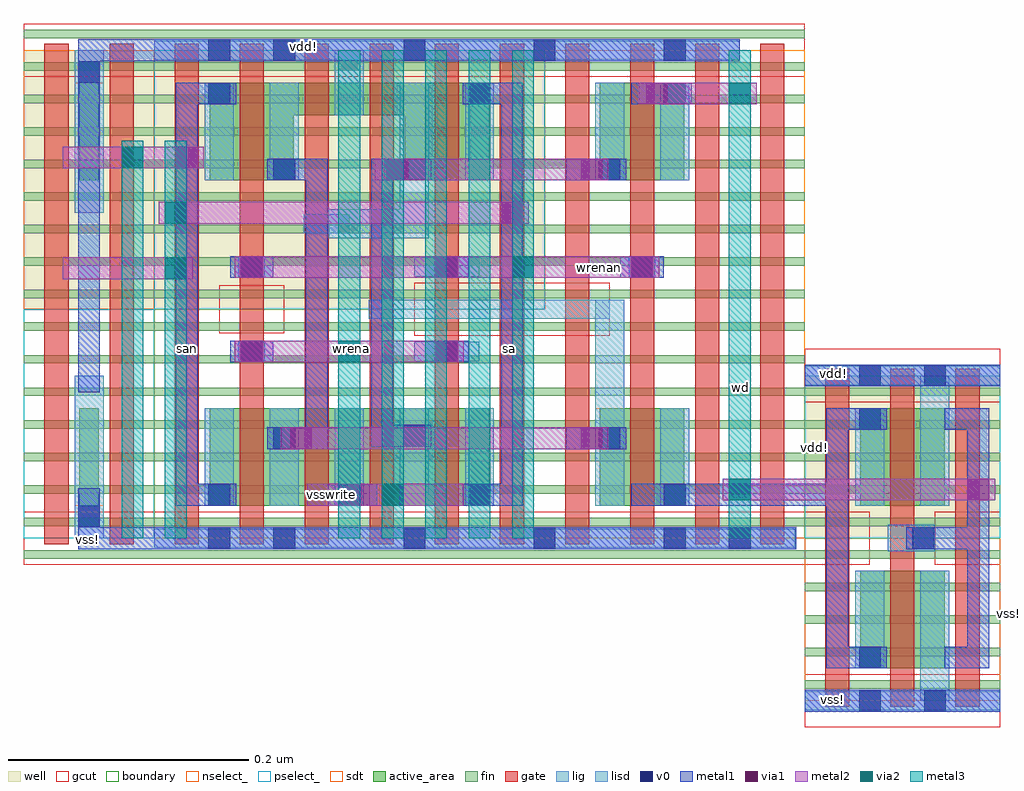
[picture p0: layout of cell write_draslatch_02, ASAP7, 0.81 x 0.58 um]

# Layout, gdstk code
from math import pi, radians
import gdstk
lib = gdstk.Library(unit=1e-6, precision=2.5e-10)
def R(c, l, rs):  # rectangles x0, y0, x1, y1
    for r in rs: c.add(gdstk.rectangle(r[:2], r[2:], *l))
def A(c, l, x, y, w, h, nx, ny, dx, dy):  # array of equal rectangles
    R(c, l, [(x+i*dx, y+j*dy, x+i*dx+w, y+j*dy+h) for i in range(nx) for j in range(ny)])
def P(c, l, *ps):  # polygons
    for p in ps: c.add(gdstk.Polygon(p, *l))
well = (1, 0)
fin = (2, 0)
gate = (7, 0)
gcut = (10, 0)
active_area = (11, 0)
nselect_ = (12, 0)
pselect_ = (13, 0)
lig = (16, 0)
lisd = (17, 0)
v0 = (18, 0)
metal1 = (19, 0)
metal2 = (20, 0)
via1 = (21, 0)
via2 = (25, 0)
metal3 = (30, 0)
sdt = (88, 0)
boundary = (100, 0)

invx1_asap7_75t_r_asap7s = lib.new_cell('INVx1_ASAP7_75t_R_asap7sc7p5t_18_R_old')
R(invx1_asap7_75t_r_asap7s, well, [(0,0.135,0.162,0.27)])
A(invx1_asap7_75t_r_asap7s, fin, 0, 0.01, 0.162, 0.007, 1, 10, 0, 0.027)
A(invx1_asap7_75t_r_asap7s, gate, 0.017, -0.005, 0.02, 0.2805, 3, 1, 0.054, 0)
R(invx1_asap7_75t_r_asap7s, gcut, [(0,-0.022,0.162,0.022), (0,0.113,0.054,0.157), (0.108,0.113,0.162,0.157), (0,0.248,0.162,0.292)])
R(invx1_asap7_75t_r_asap7s, active_area, [(0.046,0.027,0.116,0.108), (0.046,0.162,0.116,0.243)])
R(invx1_asap7_75t_r_asap7s, nselect_, [(0,0,0.162,0.135)])
R(invx1_asap7_75t_r_asap7s, pselect_, [(0,0.135,0.162,0.27)])
R(invx1_asap7_75t_r_asap7s, lig, [(0,-0.008,0.162,0.008), (0.054,0.124,0.093,0.146), (0,0.262,0.162,0.278)])
R(invx1_asap7_75t_r_asap7s, lisd, [(0.042,0,0.066,0.108), (0.096,0.027,0.12,0.108), (0.042,0.162,0.066,0.27), (0.096,0.162,0.12,0.243)])
R(invx1_asap7_75t_r_asap7s, v0, [(0.045,-0.009,0.063,0.009), (0.099,-0.009,0.117,0.009), (0.099,0.027,0.117,0.045), (0.055,0.126,0.073,0.144), (0.099,0.225,0.117,0.243), (0.045,0.261,0.063,0.279), (0.099,0.261,0.117,0.279)])
R(invx1_asap7_75t_r_asap7s, metal1, [(0,-0.009,0.162,0.009), (0,0.261,0.162,0.279)])
P(invx1_asap7_75t_r_asap7s, metal1, [(0.094,0.027),(0.094,0.045),(0.126,0.045),(0.126,0.225),(0.094,0.225),(0.094,0.243),(0.144,0.243),(0.144,0.027)],
  [(0.009,0.027),(0.009,0.243),(0.046,0.243),(0.046,0.225),(0.027,0.225),(0.027,0.144),(0.078,0.144),(0.078,0.126),(0.027,0.126),(0.027,0.045),(0.046,0.045),(0.046,0.027)])
R(invx1_asap7_75t_r_asap7s, sdt, [(0.042,0.027,0.066,0.108), (0.096,0.027,0.12,0.108), (0.042,0.162,0.066,0.243), (0.096,0.162,0.12,0.243)])
R(invx1_asap7_75t_r_asap7s, boundary, [(0,0,0.162,0.27)])
invx1_asap7_75t_r_asap7s.add(gdstk.Label('vss!', (0.206,0.08), layer=3, texttype=251))
invx1_asap7_75t_r_asap7s.add(gdstk.Label('vdd!', (0.154,0.187), layer=1, texttype=251))
invx1_asap7_75t_r_asap7s.add(gdstk.Label('Y', (0.1355,0.1145), layer=19, texttype=251))
invx1_asap7_75t_r_asap7s.add(gdstk.Label('A', (0.047,0.1365), layer=19, texttype=251))
invx1_asap7_75t_r_asap7s.add(gdstk.Label('vdd!', (0.036,0.2675), layer=19, texttype=251))
invx1_asap7_75t_r_asap7s.add(gdstk.Label('vss!', (0.029,0.003), layer=19, texttype=251))

write_draslatch_02 = lib.new_cell('write_draslatch_02')
R(write_draslatch_02, well, [(-0.108,0.19,0.324,0.405)])
A(write_draslatch_02, fin, -0.108, -0.017, 0.648, 0.007, 1, 16, 0, 0.027)
R(write_draslatch_02, fin, [(-0.108,0.388,0.54,0.395), (-0.108,0.415,0.54,0.422)])
A(write_draslatch_02, gate, -0.091, -0.005, 0.02, 0.4155, 12, 1, 0.054, 0)
R(write_draslatch_02, gcut, [(-0.108,-0.022,0.54,0.022), (0.216,0.168,0.378,0.212), (0.054,0.17,0.108,0.21), (-0.108,0.383,0.54,0.427)])
R(write_draslatch_02, active_area, [(-0.062,0.027,-0.046,0.108), (0.046,0.027,0.278,0.108), (0.37,0.027,0.44,0.108), (-0.062,0.297,-0.046,0.378), (0.37,0.297,0.44,0.378)])
P(write_draslatch_02, active_area, [(0.046,0.297),(0.046,0.378),(0.278,0.378),(0.278,0.297),(0.208,0.297),(0.208,0.351),(0.116,0.351),(0.116,0.297)])
R(write_draslatch_02, nselect_, [(-0.108,0.19,0,0.405)])
P(write_draslatch_02, nselect_, [(0,0),(0,0.19),(0.324,0.19),(0.324,0.405),(0.54,0.405),(0.54,0)])
R(write_draslatch_02, pselect_, [(-0.108,0,0,0.19), (0,0.19,0.324,0.405)])
R(write_draslatch_02, lig, [(0,-0.008,0.532,0.008), (0.07,0.147,0.092,0.163), (0.216,0.147,0.27,0.163), (0.178,0.182,0.378,0.198), (0.07,0.217,0.092,0.233), (0.216,0.217,0.27,0.233), (0.394,0.217,0.416,0.233), (0.124,0.253,0.162,0.269), (0,0.397,0.486,0.413)])
A(write_draslatch_02, lisd, 0.042, 0.027, 0.024, 0.081, 5, 1, 0.054, 0)
R(write_draslatch_02, lisd, [(-0.066,0,-0.042,0.135), (0.366,0.027,0.39,0.198), (0.42,0.027,0.444,0.108), (0.145,0.249,0.228,0.273), (0.204,0.249,0.228,0.378), (-0.066,0.27,-0.042,0.405), (0.042,0.297,0.066,0.378), (0.096,0.297,0.12,0.378), (0.258,0.297,0.282,0.378), (0.366,0.297,0.39,0.378), (0.42,0.297,0.444,0.378), (0.15,0.351,0.174,0.405)])
A(write_draslatch_02, v0, 0.099, -0.009, 0.018, 0.018, 4, 2, 0.108, 0.405)
A(write_draslatch_02, v0, 0.045, 0.027, 0.018, 0.018, 3, 1, 0.108, 0)
A(write_draslatch_02, v0, 0.072, 0.216, 0.018, 0.018, 3, 1, 0.162, 0)
R(write_draslatch_02, v0, [(0.045,-0.009,0.063,0.009), (0.477,-0.009,0.495,0.009), (-0.063,0.009,-0.045,0.027), (0.423,0.027,0.441,0.045), (0.099,0.074,0.117,0.092), (0.369,0.074,0.387,0.092), (0.207,0.076,0.225,0.094), (0.072,0.146,0.09,0.164), (0.234,0.146,0.252,0.164), (0.099,0.297,0.117,0.315), (0.207,0.297,0.225,0.315), (0.369,0.297,0.387,0.315), (0.045,0.36,0.063,0.378), (0.261,0.36,0.279,0.378), (0.423,0.36,0.441,0.378), (-0.063,0.378,-0.045,0.396), (0.045,0.396,0.063,0.414)])
A(write_draslatch_02, metal1, 0.063, 0.216, 0.036, 0.018, 3, 1, 0.162, 0)
R(write_draslatch_02, metal1, [(-0.063,-0.009,-0.045,0.0415), (-0.063,-0.009,0.533,0.009), (0.144,0.027,0.185,0.045), (0.396,0.027,0.576,0.045), (0.094,0.074,0.144,0.092), (0.126,0.074,0.144,0.315), (0.342,0.074,0.392,0.092), (0.18,0.076,0.23,0.094), (0.18,0.076,0.198,0.315), (0.063,0.146,0.099,0.164), (0.225,0.146,0.261,0.164), (0.094,0.297,0.144,0.315), (0.18,0.297,0.23,0.315), (0.342,0.297,0.392,0.315), (0.396,0.36,0.446,0.378)])
P(write_draslatch_02, metal1, [(0.256,0.027),(0.256,0.045),(0.288,0.045),(0.288,0.36),(0.256,0.36),(0.256,0.378),(0.306,0.378),(0.306,0.027)],
  [(0.018,0.027),(0.018,0.378),(0.068,0.378),(0.068,0.36),(0.036,0.36),(0.036,0.045),(0.068,0.045),(0.068,0.027)],
  [(-0.063,0.121),(-0.063,0.414),(0.486,0.414),(0.486,0.396),(-0.045,0.396),(-0.045,0.121)])
R(write_draslatch_02, metal2, [(0.127,0.027,0.257,0.045), (0.472,0.0315,0.698,0.0495), (0.105,0.074,0.377,0.092), (0.067,0.146,0.257,0.164), (-0.076,0.215,0.032,0.233), (0.067,0.216,0.419,0.234), (0.004,0.261,0.311,0.279), (0.183,0.297,0.377,0.315), (-0.076,0.307,0.041,0.325), (0.402,0.36,0.5,0.378)])
A(write_draslatch_02, via1, 0.072, 0.216, 0.018, 0.018, 3, 1, 0.162, 0)
R(write_draslatch_02, via1, [(0.161,0.027,0.179,0.045), (0.675,0.0315,0.693,0.0495), (0.113,0.074,0.131,0.092), (0.354,0.074,0.372,0.092), (0.072,0.146,0.09,0.164), (0.234,0.146,0.252,0.164), (0.288,0.261,0.306,0.279), (0.193,0.297,0.211,0.315), (0.354,0.297,0.372,0.315), (0.018,0.307,0.036,0.325), (0.408,0.36,0.426,0.378)])
R(write_draslatch_02, via2, [(0.189,0.027,0.207,0.045), (0.477,0.0315,0.495,0.0495), (0.153,0.146,0.171,0.164), (0.009,0.215,0.027,0.233), (0.297,0.216,0.315,0.234), (0.009,0.261,0.027,0.279), (-0.027,0.307,-0.009,0.325), (0.477,0.36,0.495,0.378)])
A(write_draslatch_02, metal3, 0.153, 0, 0.018, 0.405, 5, 1, 0.036, 0)
R(write_draslatch_02, metal3, [(-0.027,0,-0.009,0.33), (0.009,0,0.027,0.33), (0.477,0,0.495,0.405)])
A(write_draslatch_02, sdt, 0.042, 0.027, 0.024, 0.081, 5, 1, 0.054, 0)
R(write_draslatch_02, sdt, [(-0.066,0.027,-0.042,0.135), (0.366,0.027,0.39,0.108), (0.42,0.027,0.444,0.108), (-0.066,0.27,-0.042,0.378), (0.042,0.297,0.066,0.378), (0.096,0.297,0.12,0.378), (0.204,0.297,0.228,0.378), (0.258,0.297,0.282,0.378), (0.366,0.297,0.39,0.378), (0.42,0.297,0.444,0.378), (0.15,0.351,0.174,0.378)])
R(write_draslatch_02, boundary, [(-0.108,0,0.54,0.405)])
write_draslatch_02.add(gdstk.Reference(invx1_asap7_75t_r_asap7s, (0.702,-0.135), rotation=pi, x_reflection=True))
write_draslatch_02.add(gdstk.Label('wrena', (0.164,0.157), layer=20, texttype=251))
write_draslatch_02.add(gdstk.Label('wrenan', (0.37,0.225), layer=20, texttype=251))
write_draslatch_02.add(gdstk.Label('vsswrite', (0.147,0.0365), layer=20, texttype=251))
write_draslatch_02.add(gdstk.Label('vss!', (0.709,-0.0625), layer=3, texttype=251))
write_draslatch_02.add(gdstk.Label('vdd!', (0.548,0.075), layer=1, texttype=251))
write_draslatch_02.add(gdstk.Label('vdd!', (0.564,0.137), layer=19, texttype=251))
write_draslatch_02.add(gdstk.Label('vss!', (0.563,-0.1335), layer=19, texttype=251))
write_draslatch_02.add(gdstk.Label('sa', (0.295,0.157), layer=19, texttype=251))
write_draslatch_02.add(gdstk.Label('san', (0.028,0.157), layer=19, texttype=251))
write_draslatch_02.add(gdstk.Label('vss!', (-0.055,-0.001), layer=19, texttype=251))
write_draslatch_02.add(gdstk.Label('vdd!', (0.124,0.408), layer=19, texttype=251))
write_draslatch_02.add(gdstk.Label('wd', (0.487,0.125), layer=30, texttype=251))

lib.write_gds('write_draslatch_02.gds')
